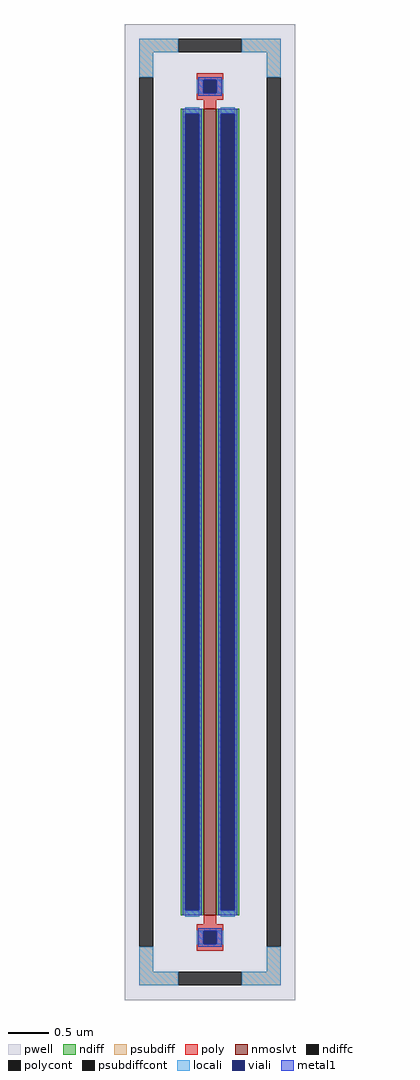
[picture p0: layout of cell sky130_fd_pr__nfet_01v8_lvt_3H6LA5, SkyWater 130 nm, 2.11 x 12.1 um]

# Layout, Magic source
magic
tech sky130A
magscale 1 2
<< pwell >>
rect -211 -1210 211 1210
<< nmoslvt >>
rect -15 -1000 15 1000
<< ndiff >>
rect -73 988 -15 1000
rect -73 -988 -61 988
rect -27 -988 -15 988
rect -73 -1000 -15 -988
rect 15 988 73 1000
rect 15 -988 27 988
rect 61 -988 73 988
rect 15 -1000 73 -988
<< ndiffc >>
rect -61 -988 -27 988
rect 27 -988 61 988
<< psubdiff >>
rect -175 1140 -79 1174
rect 79 1140 175 1174
rect -175 1078 -141 1140
rect 141 1078 175 1140
rect -175 -1140 -141 -1078
rect 141 -1140 175 -1078
rect -175 -1174 -79 -1140
rect 79 -1174 175 -1140
<< psubdiffcont >>
rect -79 1140 79 1174
rect -175 -1078 -141 1078
rect 141 -1078 175 1078
rect -79 -1174 79 -1140
<< poly >>
rect -33 1072 33 1088
rect -33 1038 -17 1072
rect 17 1038 33 1072
rect -33 1022 33 1038
rect -15 1000 15 1022
rect -15 -1022 15 -1000
rect -33 -1038 33 -1022
rect -33 -1072 -17 -1038
rect 17 -1072 33 -1038
rect -33 -1088 33 -1072
<< polycont >>
rect -17 1038 17 1072
rect -17 -1072 17 -1038
<< locali >>
rect -175 1140 -79 1174
rect 79 1140 175 1174
rect -175 1078 -141 1140
rect 141 1078 175 1140
rect -33 1038 -17 1072
rect 17 1038 33 1072
rect -61 988 -27 1004
rect -61 -1004 -27 -988
rect 27 988 61 1004
rect 27 -1004 61 -988
rect -33 -1072 -17 -1038
rect 17 -1072 33 -1038
rect -175 -1140 -141 -1078
rect 141 -1140 175 -1078
rect -175 -1174 -79 -1140
rect 79 -1174 175 -1140
<< viali >>
rect -17 1038 17 1072
rect -61 -988 -27 988
rect 27 -988 61 988
rect -17 -1072 17 -1038
<< metal1 >>
rect -29 1072 29 1078
rect -29 1038 -17 1072
rect 17 1038 29 1072
rect -29 1032 29 1038
rect -67 988 -21 1000
rect -67 -988 -61 988
rect -27 -988 -21 988
rect -67 -1000 -21 -988
rect 21 988 67 1000
rect 21 -988 27 988
rect 61 -988 67 988
rect 21 -1000 67 -988
rect -29 -1038 29 -1032
rect -29 -1072 -17 -1038
rect 17 -1072 29 -1038
rect -29 -1078 29 -1072
<< properties >>
string gencell sky130_fd_pr__nfet_01v8_lvt
string FIXED_BBOX -158 -1157 158 1157
string parameters w 10 l 0.150 m 1 nf 1 diffcov 100 polycov 100 guard 1 glc 1 grc 1 gtc 1 gbc 1 tbcov 100 rlcov 100 topc 1 botc 1 poverlap 0 doverlap 1 lmin 0.15 wmin 0.42 compatible {sky130_fd_pr__nfet_01v8 sky130_fd_pr__nfet_01v8_lvt  sky130_fd_bs_flash__special_sonosfet_star  sky130_fd_pr__nfet_g5v0d10v5 sky130_fd_pr__nfet_05v0_nvt} full_metal 1 viasrc 100 viadrn 100 viagate 100 viagb 0 viagr 0 viagl 0 viagt 0
string library sky130
<< end >>
